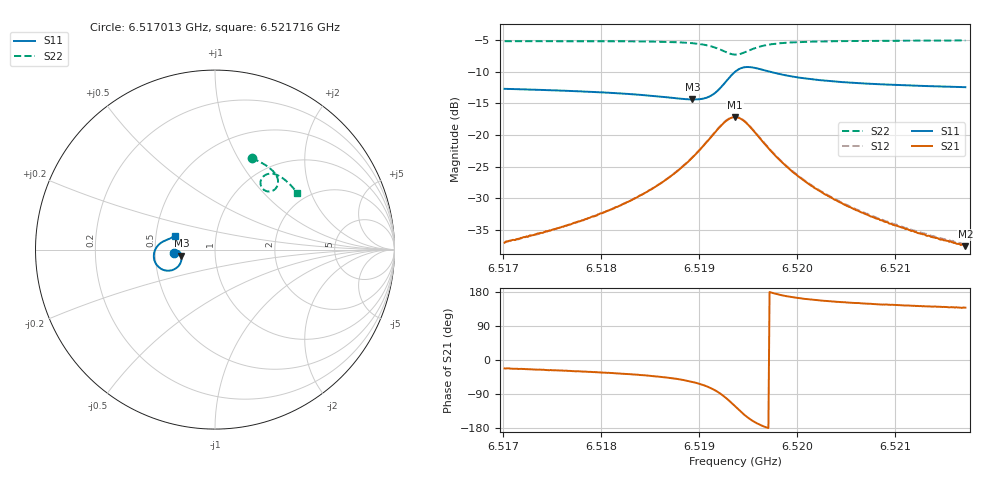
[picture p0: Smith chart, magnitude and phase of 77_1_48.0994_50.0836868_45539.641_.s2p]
#  HZ  S  RI  R  50.00
! Rohde & Schwarz Vector Network Analyzer
! Rohde-Schwarz,ZNB20-2Port,1311601062101988,3.16
! Created: UTC 12/23/2023, 3:42:22 AM
! freq[Hz]  re:S11  im:S11  re:S21  im:S21  re:S12  im:S12  re:S22  im:S22
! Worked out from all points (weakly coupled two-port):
!   401 points, 6.517013 GHz to 6.521716 GHz, reference 50 ohm
!   highest |S21| = -17.18 dB at 6.519364 GHz (marker M1); lowest = -37.5 dB at 6.521716 GHz (marker M2)
!   lowest |S11| = -14.4 dB at 6.518929 GHz (marker M3), VSWR 1.47, Z = 34.1 - j2.35 ohm
!   |S11| at or under -10 dB: start of sweep to 6.519368 GHz; 6.519714 GHz to end of sweep
!   |S22| runs from -7.3 to -5.1 dB; largest |S21 - S12| = 0.0043
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6.5170125e9  -0.2304 -0.0171  0.0131 -0.00532  0.0133 -0.00484  0.2046 0.5089
6.5173653e9  -0.2265 -0.0119  0.0151 -0.00713  0.0152 -0.00666  0.2305 0.4979
6.5178003e9  -0.2202 -0.00672  0.0183 -0.0107  0.0185 -0.0102  0.2629 0.4818
6.5183059e9  -0.2097 -0.00516  0.0241 -0.0188  0.0247 -0.018  0.301 0.4571
6.5185881e9  -0.2008 -0.00951  0.0292 -0.0283  0.0304 -0.0275  0.3231 0.4377
6.5187645e9  -0.1939 -0.0176  0.033 -0.0388  0.0344 -0.0381  0.3367 0.421
6.5189291e9  -0.1875 -0.0331  0.0353 -0.056  0.0373 -0.0553  0.3479 0.3988
6.5190467e9  -0.1866 -0.0535  0.0328 -0.0761  0.0352 -0.0756  0.3515 0.3763
6.519129e9  -0.1923 -0.0743  0.0242 -0.0949  0.0272 -0.0951  0.3476 0.3563
6.5191878e9  -0.2039 -0.0921  0.0112 -0.1104  0.0146 -0.1107  0.3386 0.341
6.5192701e9  -0.2369 -0.1137  -0.0217 -0.1266  -0.0181 -0.1283  0.313 0.325
6.5193642e9  -0.2947 -0.1102  -0.0732 -0.1173  -0.0705 -0.1204  0.273 0.3325
6.5194112e9  -0.3197 -0.0913  -0.0935 -0.0984  -0.0913 -0.1018  0.2591 0.3486
6.51947e9  -0.3375 -0.06  -0.1058 -0.069  -0.1045 -0.0727  0.2534 0.3729
6.5195641e9  -0.3381 -0.0143  -0.1014 -0.0297  -0.1013 -0.0329  0.2655 0.4034
6.5196699e9  -0.3223 0.0174  -0.0843 -0.00506  -0.0848 -0.00768  0.2882 0.4192
6.5199286e9  -0.2871 0.0462  -0.0517 0.0121  -0.0526 0.0109  0.3329 0.4203
6.520152e9  -0.2692 0.0543  -0.0369 0.014  -0.0376 0.0132  0.3584 0.4097
6.5205047e9  -0.2525 0.061  -0.0243 0.0131  -0.0251 0.0125  0.3879 0.3899
6.5209398e9  -0.2399 0.0674  -0.0165 0.0112  -0.0172 0.011  0.4164 0.3641
6.5213513e9  -0.2312 0.0732  -0.0125 0.00994  -0.0129 0.00971  0.4391 0.3392
6.5217158e9  -0.225 0.0781  -0.00988 0.00887  -0.0105 0.00891  0.4572 0.3168
